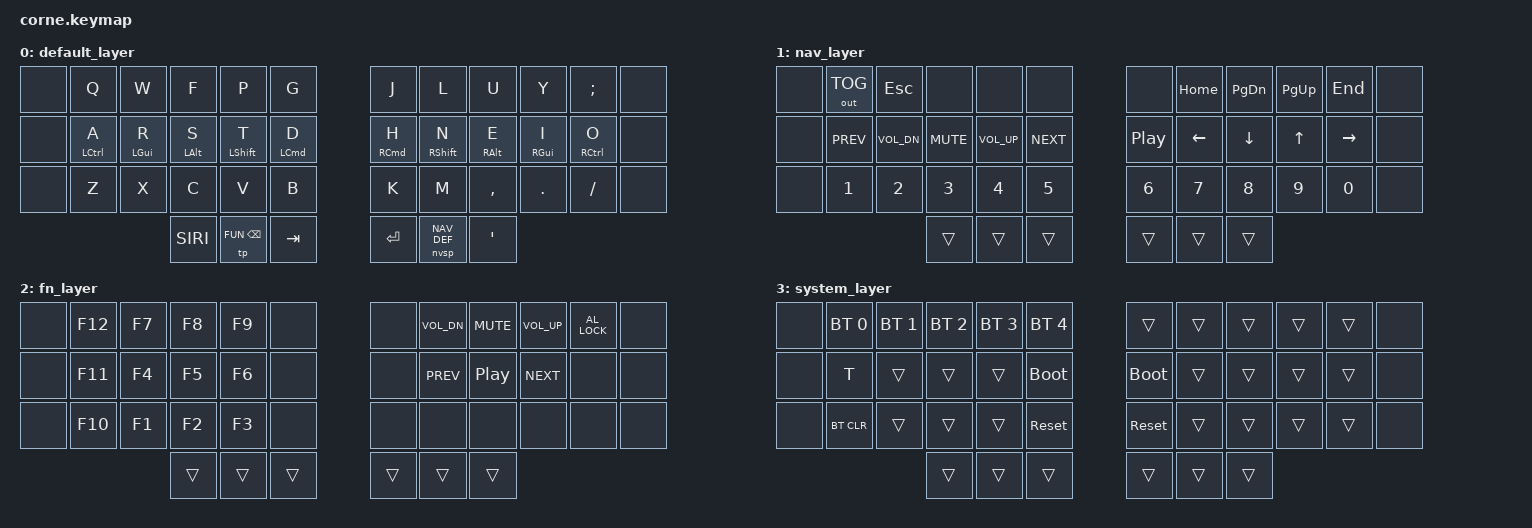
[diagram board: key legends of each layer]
#include <behaviors.dtsi>
#include <dt-bindings/zmk/keys.h>
#include <dt-bindings/zmk/bt.h>
#include <dt-bindings/zmk/outputs.h>


#define HOST_OS 2
#include "../zmk-nodefree-config/helper.h"
#include "../zmk-nodefree-config/keypos_def/keypos_42keys.h"
#include "keypos.h"

/* layer and key shortcuts */
#define NONE &none
#define ___  &trans

#define MEH   LC(LS(LALT))

#define DEF 0
#define NAV 1
#define FUN 2
#define SYS 3


#define QUICK_TAP_MS 175

/* Homerow mods */
#define KEYS_L LT0 LT1 LT2 LT3 LT4 LM0 LM1 LM2 LM3 LM4 LB0 LB1 LB2 LB3 LB4  // left hand
#define KEYS_R RT0 RT1 RT2 RT3 RT4 RM0 RM1 RM2 RM3 RM4 RB0 RB1 RB2 RB3 RB4  // right hand
#define THUMBS LH2 LH1 LH0 RH0 RH1 RH2                                      // thumbs

#define MAKE_HRM(NAME, HOLD, TAP, TRIGGER_POS) \
    ZMK_BEHAVIOR(NAME, hold_tap, \
        flavor = "tap-preferred"; \
        tapping-term-ms = <200>; \
        quick-tap-ms = <QUICK_TAP_MS>; \
        bindings = <&kp>, <&kp>; \
        hold-trigger-key-positions = <TRIGGER_POS>; \
    )

MAKE_HRM(hml, &kp, &kp, KEYS_R THUMBS)  // left-hand HRMs
MAKE_HRM(hmr, &kp, &kp, KEYS_L THUMBS)  // right-hand HRMs

ZMK_BEHAVIOR(tp, hold_tap,
    flavor = "tap-preferred";
    tapping-term-ms = <200>;
    quick-tap-ms = <QUICK_TAP_MS>;
    bindings = <&mo>, <&kp>;
)

// tap: space | shift + tap: dot -> space -> sticky shift | hold: activate layer
ZMK_BEHAVIOR(nvsp, hold_tap,
    flavor = "balanced";
    tapping-term-ms = <200>;
    quick-tap-ms = <QUICK_TAP_MS>;
    bindings = <&mo>, <&spc_morph>;
)
ZMK_BEHAVIOR(spc_morph, mod_morph,
    bindings = <&kp SPACE>, <&dot_spc>;
    mods = <(MOD_LSFT|MOD_RSFT)>;
)
ZMK_BEHAVIOR(dot_spc, macro,
    wait-ms = <0>;
    tap-ms = <5>;
    bindings = <&kp DOT &kp SPACE &sk LSHFT>;
)
/* ZMK_BEHAVIOR(dictation, macro, */
/*     wait-ms = <0>; */
/*     tap-ms = <5>; */
/*     bindings = <&kp LCTRL &kp LCTRL>; */
/* ) */

// tap: dot | shift + tap: colon
ZMK_BEHAVIOR(dot_morph, mod_morph,
    bindings = <&kp DOT>, <&kp COLON>;
    mods = <(MOD_LSFT|MOD_RSFT)>;
)
ZMK_COMBO(lbrc,  &kp LBRC, P_A P_T, DEF)
ZMK_COMBO(lbkt,  &kp LBKT, P_R P_T, DEF)
ZMK_COMBO(lpar,  &kp LPAR, P_S P_T, DEF)
ZMK_COMBO(rpar,  &kp RPAR, P_N P_E, DEF)
ZMK_COMBO(rbkt,  &kp RBKT, P_N P_I, DEF)
ZMK_COMBO(rbrc,  &kp RBRC, P_N P_O, DEF)

ZMK_COMBO(ret,   &mt SQT RET, P_I P_O, DEF)

ZMK_COMBO(minus, &kp MINUS, P_R P_S, DEF)
ZMK_COMBO(plus,  &kp PLUS, P_E P_I, DEF)
ZMK_COMBO(excl,  &kp EXCL, P_W P_F, DEF)
ZMK_COMBO(amps,  &kp AMPS, P_U P_Y, DEF)

ZMK_COMBO(hash,  &kp HASH, P_R P_F, DEF)
ZMK_COMBO(dolla, &kp DOLLAR, P_F P_T, DEF)
ZMK_COMBO(perc,  &kp PERCENT, P_F P_P, DEF)
ZMK_COMBO(caret, &kp CARET, P_N P_U, DEF)
ZMK_COMBO(star,  &kp STAR, P_U P_I, DEF)
ZMK_COMBO(pipe,  &kp PIPE, P_Y P_SEMICOLON, DEF)
ZMK_COMBO(at,    &kp AT, P_R P_W, DEF)

ZMK_COMBO(media_rewind,     &kp RBRC, P_J P_L, NAV)
ZMK_COMBO(media_forward,    &kp RBRC, P_Y P_SEMICOLON, NAV)
ZMK_COMBO(media_play_pause, &kp C_PLAY_PAUSE, P_J P_SEMICOLON, NAV)

ZMK_COMBO(esc, &kp ESC, P_A P_R, DEF)
ZMK_COMBO(esc, &kp ESC, P_A P_R, NAV) // keymap-drawer compalins about "ALL" layer combos
/* ZMK_COMBO(bksp, &kp BKSP, P_S P_E, DEF) */
/* ZMK_COMBO(bksp, &kp BKSP, P_S P_E, NAV) */

ZMK_COMBO(one,   &kp N1, P_A P_Z, DEF)
ZMK_COMBO(two,   &kp N2, P_R P_X, DEF)
ZMK_COMBO(three, &kp N3, P_S P_C, DEF)
ZMK_COMBO(four,  &kp N4, P_T P_V, DEF)
ZMK_COMBO(five,  &kp N5, P_D P_B, DEF)
ZMK_COMBO(six,   &kp N6, P_H P_K, DEF)
ZMK_COMBO(seven, &kp N7, P_N P_M, DEF)
ZMK_COMBO(eight, &kp N8, P_E P_COMMA, DEF)
ZMK_COMBO(nine,  &kp N9, P_I P_DOT, DEF)
ZMK_COMBO(zero,  &kp N0, P_O P_SLASH, DEF)


// euro sign
ZMK_UNICODE_SINGLE(euro_sign, N2, N0, A, C)  // €


ZMK_CONDITIONAL_LAYER(NAV FUN, SYS)


/* keymap */
ZMK_LAYER(default_layer,
      // ╭──────────────┬──────────────┬──────────────┬──────────────┬──────────────┬──────────────╮ ╭──────────────┬──────────────┬──────────────┬──────────────┬──────────────┬──────────────╮
          NONE           &kp Q          &kp W          &kp F          &kp P          &kp G            &kp J          &kp L          &kp U          &kp Y          &kp SEMICOLON  NONE
      // ├──────────────┼──────────────┼──────────────┼──────────────┼──────────────┼──────────────┤ ├──────────────┼──────────────┼──────────────┼──────────────┼──────────────┼──────────────┤
          NONE           &hml LCTRL A   &hml LGUI R    &hml LALT S    &hml LSHFT T   &hml LCMD D      &hmr RCMD H    &hmr RSHFT N   &hmr RALT E    &hmr RGUI I    &hmr RCTRL O   NONE
      // ├──────────────┼──────────────┼──────────────┼──────────────┼──────────────┼──────────────┤ ├──────────────┼──────────────┼──────────────┼──────────────┼──────────────┼──────────────┤
          NONE           &kp Z          &kp X          &kp C          &kp V          &kp B            &kp K          &kp M          &kp COMMA      &kp DOT        &kp FSLH       NONE
      // ╰──────────────┼──────────────┼──────────────┼──────────────┼──────────────┼──────────────┤ ├──────────────┼──────────────┼──────────────┼──────────────┼──────────────┼──────────────╯
                                                       &kp SIRI       &tp FUN BKSP   &kp TAB          &kp RET        &nvsp NAV DEF  &kp SQT
      //                                              ╰──────────────┴──────────────┴──────────────╯ ╰──────────────┴──────────────┴──────────────╯
        )

ZMK_LAYER(nav_layer,
      // ╭──────────────┬──────────────┬──────────────┬──────────────┬──────────────┬──────────────╮ ╭──────────────┬──────────────┬──────────────┬──────────────┬──────────────┬──────────────╮
          NONE           &out OUT_TOG   &kp ESC        NONE           NONE           NONE             NONE           &kp HOME       &kp PG_DN      &kp PG_UP      &kp END        NONE
      // ├──────────────┼──────────────┼──────────────┼──────────────┼──────────────┼──────────────┤ ├──────────────┼──────────────┼──────────────┼──────────────┼──────────────┼──────────────┤
          NONE           &kp C_PREV     &kp C_VOL_DN   &kp C_MUTE     &kp C_VOL_UP   &kp C_NEXT       &kp C_PP       &kp LEFT       &kp DOWN       &kp UP         &kp RIGHT      NONE
      // ├──────────────┼──────────────┼──────────────┼──────────────┼──────────────┼──────────────┤ ├──────────────┼──────────────┼──────────────┼──────────────┼──────────────┼──────────────┤
          NONE           &kp N1         &kp N2         &kp N3         &kp N4         &kp N5           &kp N6         &kp N7         &kp N8         &kp N9         &kp N0         NONE
      // ╰──────────────┼──────────────┼──────────────┼──────────────┼──────────────┼──────────────┤ ├──────────────┼──────────────┼──────────────┼──────────────┼──────────────┼──────────────╯
                                                       ___            ___            ___              ___            ___            ___
      //                                              ╰──────────────┴──────────────┴──────────────╯ ╰──────────────┴──────────────┴──────────────╯
          )

ZMK_LAYER(fn_layer,
      // ╭──────────────┬──────────────┬──────────────┬──────────────┬──────────────┬──────────────╮ ╭──────────────┬──────────────┬──────────────┬──────────────┬──────────────┬──────────────╮
          NONE           &kp F12        &kp F7         &kp F8         &kp F9         NONE             NONE           &kp C_VOL_DN   &kp C_MUTE     &kp C_VOL_UP   &kp C_AL_LOCK  NONE
      // ├──────────────┼──────────────┼──────────────┼──────────────┼──────────────┼──────────────┤ ├──────────────┼──────────────┼──────────────┼──────────────┼──────────────┼──────────────┤
          NONE           &kp F11        &kp F4         &kp F5         &kp F6         NONE             NONE           &kp C_PREV     &kp C_PP       &kp C_NEXT     NONE           NONE
      // ├──────────────┼──────────────┼──────────────┼──────────────┼──────────────┼──────────────┤ ├──────────────┼──────────────┼──────────────┼──────────────┼──────────────┼──────────────┤
          NONE           &kp F10        &kp F1         &kp F2         &kp F3         NONE             NONE           NONE           NONE           NONE           NONE           NONE
      // ╰──────────────┼──────────────┼──────────────┼──────────────┼──────────────┼──────────────┤ ├──────────────┼──────────────┼──────────────┼──────────────┼──────────────┼──────────────╯
                                                       ___            ___            ___              ___            ___            ___ 
      //                                              ╰──────────────┴──────────────┴──────────────╯ ╰──────────────┴──────────────┴──────────────╯
          )

ZMK_LAYER(system_layer,
      // ╭──────────────┬──────────────┬──────────────┬──────────────┬──────────────┬──────────────╮ ╭──────────────┬──────────────┬──────────────┬──────────────┬──────────────┬──────────────╮
          NONE           &bt BT_SEL 0   &bt BT_SEL 1   &bt BT_SEL 2   &bt BT_SEL 3   &bt BT_SEL 4     ___            ___            ___            ___            ___            NONE
      // ├──────────────┼──────────────┼──────────────┼──────────────┼──────────────┼──────────────┤ ├──────────────┼──────────────┼──────────────┼──────────────┼──────────────┼──────────────┤
          NONE           &kp T          ___            ___            ___            &bootloader      &bootloader    ___            ___            ___            ___            NONE
      // ├──────────────┼──────────────┼──────────────┼──────────────┼──────────────┼──────────────┤ ├──────────────┼──────────────┼──────────────┼──────────────┼──────────────┼──────────────┤
          NONE           &bt BT_CLR     ___            ___            ___            &sys_reset       &sys_reset     ___            ___            ___            ___            NONE
      // ╰──────────────┼──────────────┼──────────────┼──────────────┼──────────────┼──────────────┤ ├──────────────┼──────────────┼──────────────┼──────────────┼──────────────┼──────────────╯
                                                       ___            ___            ___              ___            ___            ___
      //                                              ╰──────────────┴──────────────┴──────────────╯ ╰──────────────┴──────────────┴──────────────╯
          )




/* // buffers, search, workspaces */
/* #define BKILL                     CA(K)
/* #define BMAX                      CA(M)
/* #define BNEXT                     CA(COMMA)
/* #define BPREV                     CA(DOT)
/* #define FILESAVE                  LC(S)
/* #define FILEXP                    CA(N)
/* #define GOTO                      CA(K)
/* #define GOTO_X                    CA(SEMI)
/* #define GOTO_NEXT                 CA(N)
/* #define GOTO_PREV                 CAS(N)
/* #define LSPTREE                   CA(O)
/* #define OSTERM                    LG(LS(RET))
/* #define VTERM                     CA(E)
/* #define WKILL                     CA(Q)
/* #define WORKSPCNXT                CA(A)
/* #define WORKSPCPRV                CAS(A)
/* #define WORKSPCKILL               LC(A)
/* #define SEARCH_PRJ                LA(SLASH)
/* #define SEARCH_FILE               LA(MINUS)
/* #define SEARCH_WEB                LA(EQUAL)
/* // git stuff
/* #define MAGIT                     CA(G)
/* #define GITBLAME                  CA(H)
/* #define GITCOMMIT                 CA(C)
/* #define GITSMERGE                 CA(A)
/* #define GITSMERGE_L               CA(RBRC)
/* #define GITSMERGE_U               CA(LBRC)
/* #define GITSMERGE_PREV            CA(R)
/* #define GITSMERGE_NEXT            CA(X)
/* #define GITFETCHMASTER            CA(SPACE)
/* #define GITLOG                    CA(Z)
/* #define GITMERGE                  CA(V)
/* #define GITPUSH                   CA(P)
/* #define GITSTAGEFILE              CA(S)
/* #define GITTIMELINE               CA(T)
/* #define GITWORKTREE               CA(W)
/* // LSP stuff
/* #define LSP_DIAGNOSTIC_POPUP      CA(J)
/* #define LSP_SHOW_DEFINITION       CA(L)
/* #define LSP_SHOW_REFERENCE        CA(U)
/* #define LSP_CODE_ACTIONS          CA(SLASH)
/* #define LSP_DOCS                  CA(SEMI)
/* #define LSPOTHERW                 CA(EQUAL)
/* #define LSP_LIST_SYMBOLS          CA(J)
/* #define LSP_GOTO_PARENT_MODULE    CA(L)
/* #define LSP_RUST_EXPAND_MACRO     CA(U)
/* #define LSP_RUST_EXTERNAL_DOC     CA(Y)
/* #define LSP_RUST_RELATED_TEST     CA(SEMI)
/* // tree-sitter code navigation
/* #define CALL_DN                   CAS(C)
/* #define CALL_UP                   CA(C)
/* #define CLASS_DN                  CAS(S)
/* #define CLASS_UP                  CA(S)
/* #define COMMENT_DN                CAS(Z)
/* #define COMMENT_UP                CA(Z)
/* #define FN_DN                     CAS(F)
/* #define FN_UP                     CA(F)
/* #define IF_DN                     CAS(I)
/* #define IF_UP                     CA(I)
/* #define LOOP_DN                   CAS(W)
/* #define LOOP_UP                   CA(W)
/* #define PARAM_DN                  CAS(P)         // */
/* #define PARAM_UP                  CA(P)          // */
/* #define PARAG_DN                  CAS(G)         // */
/* #define PARAG_UP                  CA(G)          // */
/* #define PG_DN_OW                  CAS(O)         // */
/* #define PG_UP_OW                  CA(O)          // */
/* // media
/* #define FORWARD_FAST             S(C_FAST_FORWARD)
/* #define BACKWARD_FAST            S(C_REWIND)
/* #define FORWARD_FAST             LA(C_FAST_FORWARD)
/* #define BACKWARD_FAST            LA(C_REWIND)
/* #define FORWARD                  C_FAST_FORWARD
/* #define BACKWARD                 C_REWIND

/* TAP_OR_COLLAPSE(toc_workspace_next_or_kill, &collapsed_workspace_kill, &kp) */

/* TAPDANCE(slashes, <&kp SLASH>, <&kp BACKSLASH>, <&kp PIPE>) */
/* TAPDANCE(sound, <&lt L_MEDIA K_MUTE>, <&mt C_VOLUME_UP C_PLAY_PAUSE>, <&mt C_FAST_FORWARD C_NEXT>, <&mt C_REWIND C_PREVIOUS>) */
/* TAPDANCE(git, <&lt L_GIT MAGIT>, <&kp GITBLAME>) */
/* TAPDANCE(terminal, <&kp VTERM>, <&collapsed_osterm>) */
/* TAPDANCE(workspace, <&toc_workspace_next_or_kill 0 WORKSPCNXT>, <&kp WORKSPCPRV>) */
/* TAPDANCE(lsp_list, <&kp LSP_DIAGNOSTIC_POPUP>, <&kp LSP_LIST_SYMBOLS>) */
/* TAPDANCE(lsp_def, <&kp LSP_SHOW_DEFINITION>, <&kp LSP_GOTO_PARENT_MODULE>) */
/* TAPDANCE(lsp_ref, <&kp LSP_SHOW_REFERENCE>, <&kp LSP_RUST_EXPAND_MACRO>) */
/* TAPDANCE(lsp_act, <&kp LSP_CODE_ACTIONS>, <&kp LSP_RUST_RELATED_TEST>) */
/* TAPDANCE(lsp_doc, <&kp LSP_DOCS>, <&kp LSP_RUST_EXTERNAL_DOC>) */

/* // https://gist.github.com/urob/68a1e206b2356a01b876ed02d3f542c7 */
/* macros { */
/*     COLLAPSED_KEY(collapsed_osterm, OSTERM) */
/*     COLLAPSED_KEY(collapsed_workspace_kill, WORKSPCKILL) */
/* }; */

/* ZMK_COMBO(sar, &caps_word, P_T P_N, DEF) */
/* COMBO(caa, <LT0 LM0>, &kp GRAVE) */
